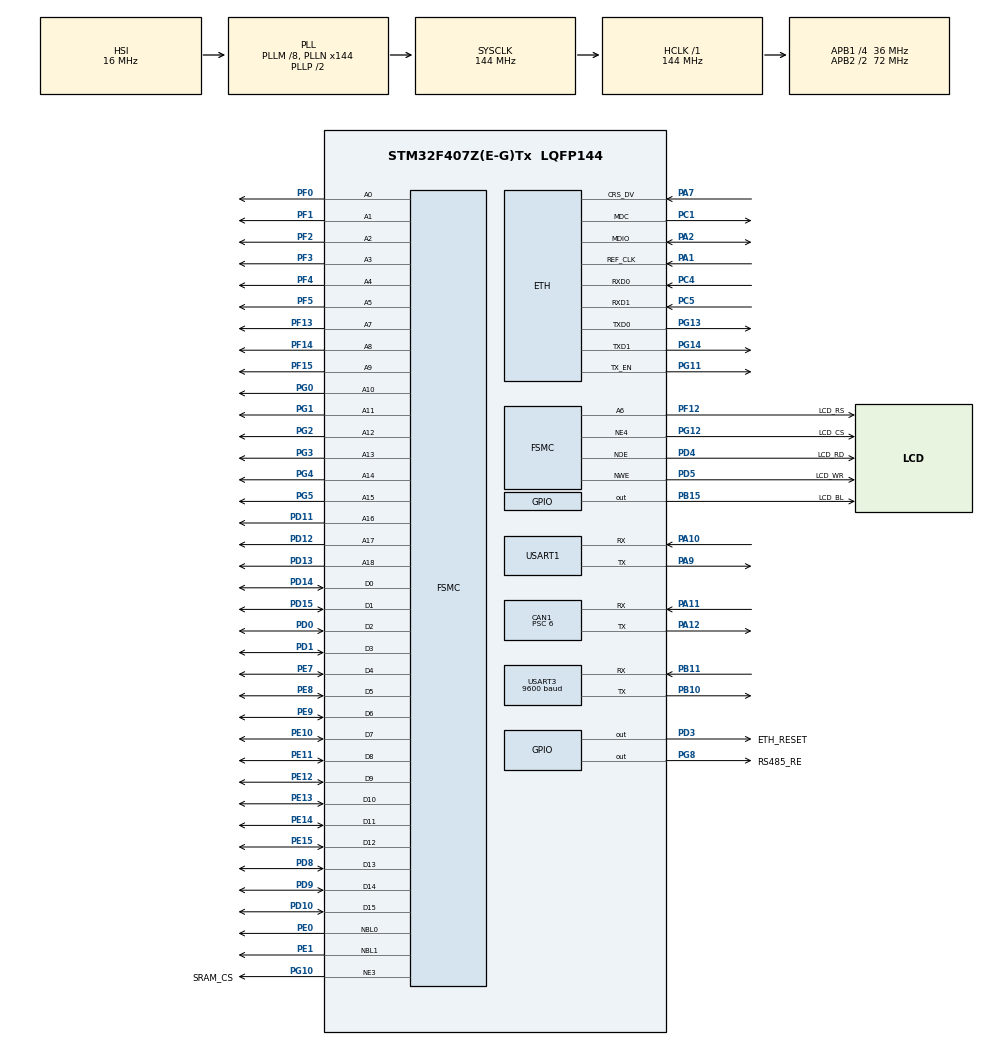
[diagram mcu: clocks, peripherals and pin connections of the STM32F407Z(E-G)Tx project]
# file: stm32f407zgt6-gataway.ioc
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CAN1.BS1=CAN_BS1_7TQ
CAN1.BS2=CAN_BS2_6TQ
CAN1.CalculateBaudRate=428571
CAN1.CalculateTimeBit=2333
CAN1.CalculateTimeQuantum=166.66666666666669
CAN1.NART=ENABLE
CAN1.Prescaler=6
ETH.MediaInterface=HAL_ETH_RMII_MODE
ETH.RxMode=ETH_RXPOLLING_MODE
FSMC.AddressSetupTime3=0
FSMC.BusTurnAroundDuration3=0
FSMC.BusTurnAroundDuration4=0
FSMC.DataSetupTime3=6
FSMC.DataSetupTime4=60
FSMC.ExtendedAddressSetupTime4=9
FSMC.ExtendedBusTurnAroundDuration4=9
FSMC.ExtendedDataSetupTime4=9
FSMC.ExtendedMode4=FSMC_EXTENDED_MODE_ENABLE
FSMC.WriteOperation3=FSMC_WRITE_OPERATION_ENABLE
LWIP.BSP.number=1
LWIP.IP_ADDRESS=192.168.063.200
LWIP.LWIP_DHCP=1
LWIP.LWIP_DNS=1
LWIP.LWIP_RAW=1
LWIP.MEMP_NUM_SYS_TIMEOUT=20
LWIP.MEMP_NUM_TCP_PCB=5
LWIP.NETMASK_ADDRESS=255.255.255.000
LWIP.Version=v2.1.2_Cube
LWIP0.BSP.STBoard=false
LWIP0.BSP.api=BSP_COMPONENT_DRIVER
LWIP0.BSP.component=LAN8742
LWIP0.BSP.instance=LAN8742
LWIP0.BSP.name=Driver_PHY
LWIP0.BSP.semaphore=S_LAN8742
LWIP0.BSP.solution=LAN8742
Mcu.Family=STM32F4
Mcu.Name=STM32F407Z(E-G)Tx
Mcu.Package=LQFP144
NVIC.CAN1_RX0_IRQn=true\:2\:0\:true\:false\:true\:true\:true\:true
NVIC.PriorityGroup=NVIC_PRIORITYGROUP_4
NVIC.TIM6_DAC_IRQn=true\:3\:0\:true\:false\:true\:true\:true\:true
PA1.Mode=RMII
PA1.Signal=ETH_REF_CLK
PA10.Mode=Asynchronous
PA10.Signal=USART1_RX
PA11.Mode=CAN_Activate
PA11.Signal=CAN1_RX
PA12.Mode=CAN_Activate
PA12.Signal=CAN1_TX
PA13.Mode=Serial_Wire
PA13.Signal=SYS_JTMS-SWDIO
PA14.Mode=Serial_Wire
PA14.Signal=SYS_JTCK-SWCLK
PA2.Mode=RMII
PA2.Signal=ETH_MDIO
PA7.Mode=RMII
PA7.Signal=ETH_CRS_DV
PA9.Mode=Asynchronous
PA9.Signal=USART1_TX
PB10.Mode=Asynchronous
PB10.Signal=USART3_TX
PB11.Mode=Asynchronous
PB11.Signal=USART3_RX
PB15.GPIO_Label=LCD_BL
PB15.Signal=GPIO_Output
PC1.Mode=RMII
PC1.Signal=ETH_MDC
PC14-OSC32_IN.Mode=LSE-External-Oscillator
PC14-OSC32_IN.Signal=RCC_OSC32_IN
PC15-OSC32_OUT.Mode=LSE-External-Oscillator
PC15-OSC32_OUT.Signal=RCC_OSC32_OUT
PC4.Mode=RMII
PC4.Signal=ETH_RXD0
PC5.Mode=RMII
PC5.Signal=ETH_RXD1
PD0.GPIO_PuPd=GPIO_PULLUP
PD0.GPIO_Speed_High_Default=GPIO_SPEED_FREQ_HIGH
PD0.Signal=FSMC_D2_DA2
PD1.GPIO_PuPd=GPIO_PULLUP
PD1.GPIO_Speed_High_Default=GPIO_SPEED_FREQ_HIGH
PD1.Signal=FSMC_D3_DA3
PD10.GPIO_PuPd=GPIO_PULLUP
PD10.GPIO_Speed_High_Default=GPIO_SPEED_FREQ_HIGH
PD10.Signal=FSMC_D15_DA15
PD11.GPIO_PuPd=GPIO_PULLUP
PD11.GPIO_Speed_High_Default=GPIO_SPEED_FREQ_HIGH
PD11.Signal=FSMC_A16_CLE
PD12.GPIO_PuPd=GPIO_PULLUP
PD12.GPIO_Speed_High_Default=GPIO_SPEED_FREQ_HIGH
PD12.Signal=FSMC_A17_ALE
PD13.GPIO_PuPd=GPIO_PULLUP
PD13.GPIO_Speed_High_Default=GPIO_SPEED_FREQ_HIGH
PD13.Signal=FSMC_A18
PD14.GPIO_PuPd=GPIO_PULLUP
PD14.GPIO_Speed_High_Default=GPIO_SPEED_FREQ_HIGH
PD14.Signal=FSMC_D0_DA0
PD15.GPIO_PuPd=GPIO_PULLUP
PD15.GPIO_Speed_High_Default=GPIO_SPEED_FREQ_HIGH
PD15.Signal=FSMC_D1_DA1
PD3.GPIO_Label=ETH_RESET
PD3.Signal=GPIO_Output
PD4.GPIO_Label=LCD_RD
PD4.GPIO_PuPd=GPIO_PULLUP
PD4.GPIO_Speed_High_Default=GPIO_SPEED_FREQ_HIGH
PD4.Signal=FSMC_NOE
PD5.GPIO_Label=LCD_WR
PD5.GPIO_PuPd=GPIO_PULLUP
PD5.GPIO_Speed_High_Default=GPIO_SPEED_FREQ_HIGH
PD5.Signal=FSMC_NWE
PD8.GPIO_PuPd=GPIO_PULLUP
PD8.GPIO_Speed_High_Default=GPIO_SPEED_FREQ_HIGH
PD8.Signal=FSMC_D13_DA13
PD9.GPIO_PuPd=GPIO_PULLUP
PD9.GPIO_Speed_High_Default=GPIO_SPEED_FREQ_HIGH
PD9.Signal=FSMC_D14_DA14
PE0.GPIO_PuPd=GPIO_PULLUP
PE0.GPIO_Speed_High_Default=GPIO_SPEED_FREQ_HIGH
PE0.Signal=FSMC_NBL0
PE1.GPIO_PuPd=GPIO_PULLUP
PE1.GPIO_Speed_High_Default=GPIO_SPEED_FREQ_HIGH
PE1.Signal=FSMC_NBL1
PE10.GPIO_PuPd=GPIO_PULLUP
PE10.GPIO_Speed_High_Default=GPIO_SPEED_FREQ_HIGH
PE10.Signal=FSMC_D7_DA7
PE11.GPIO_PuPd=GPIO_PULLUP
PE11.GPIO_Speed_High_Default=GPIO_SPEED_FREQ_HIGH
PE11.Signal=FSMC_D8_DA8
PE12.GPIO_PuPd=GPIO_PULLUP
PE12.GPIO_Speed_High_Default=GPIO_SPEED_FREQ_HIGH
PE12.Signal=FSMC_D9_DA9
PE13.GPIO_PuPd=GPIO_PULLUP
PE13.GPIO_Speed_High_Default=GPIO_SPEED_FREQ_HIGH
PE13.Signal=FSMC_D10_DA10
PE14.GPIO_PuPd=GPIO_PULLUP
PE14.GPIO_Speed_High_Default=GPIO_SPEED_FREQ_HIGH
PE14.Signal=FSMC_D11_DA11
PE15.GPIO_PuPd=GPIO_PULLUP
PE15.GPIO_Speed_High_Default=GPIO_SPEED_FREQ_HIGH
PE15.Signal=FSMC_D12_DA12
PE7.GPIO_PuPd=GPIO_PULLUP
PE7.GPIO_Speed_High_Default=GPIO_SPEED_FREQ_HIGH
PE7.Signal=FSMC_D4_DA4
PE8.GPIO_PuPd=GPIO_PULLUP
PE8.GPIO_Speed_High_Default=GPIO_SPEED_FREQ_HIGH
PE8.Signal=FSMC_D5_DA5
PE9.GPIO_PuPd=GPIO_PULLUP
PE9.GPIO_Speed_High_Default=GPIO_SPEED_FREQ_HIGH
PE9.Signal=FSMC_D6_DA6
PF0.GPIO_PuPd=GPIO_PULLUP
PF0.GPIO_Speed_High_Default=GPIO_SPEED_FREQ_HIGH
PF0.Signal=FSMC_A0
PF1.GPIO_PuPd=GPIO_PULLUP
PF1.GPIO_Speed_High_Default=GPIO_SPEED_FREQ_HIGH
PF1.Signal=FSMC_A1
PF12.GPIO_Label=LCD_RS
PF12.GPIO_PuPd=GPIO_PULLUP
PF12.GPIO_Speed_High_Default=GPIO_SPEED_FREQ_HIGH
PF12.Signal=FSMC_A6
PF13.GPIO_PuPd=GPIO_PULLUP
PF13.GPIO_Speed_High_Default=GPIO_SPEED_FREQ_HIGH
PF13.Signal=FSMC_A7
PF14.GPIO_PuPd=GPIO_PULLUP
PF14.GPIO_Speed_High_Default=GPIO_SPEED_FREQ_HIGH
PF14.Signal=FSMC_A8
PF15.GPIO_PuPd=GPIO_PULLUP
PF15.GPIO_Speed_High_Default=GPIO_SPEED_FREQ_HIGH
PF15.Signal=FSMC_A9
PF2.GPIO_PuPd=GPIO_PULLUP
PF2.GPIO_Speed_High_Default=GPIO_SPEED_FREQ_HIGH
PF2.Signal=FSMC_A2
PF3.GPIO_PuPd=GPIO_PULLUP
PF3.GPIO_Speed_High_Default=GPIO_SPEED_FREQ_HIGH
PF3.Signal=FSMC_A3
PF4.GPIO_PuPd=GPIO_PULLUP
PF4.GPIO_Speed_High_Default=GPIO_SPEED_FREQ_HIGH
PF4.Signal=FSMC_A4
PF5.GPIO_PuPd=GPIO_PULLUP
PF5.GPIO_Speed_High_Default=GPIO_SPEED_FREQ_HIGH
PF5.Signal=FSMC_A5
PG0.GPIO_PuPd=GPIO_PULLUP
PG0.GPIO_Speed_High_Default=GPIO_SPEED_FREQ_HIGH
PG0.Signal=FSMC_A10
PG1.GPIO_PuPd=GPIO_PULLUP
PG1.GPIO_Speed_High_Default=GPIO_SPEED_FREQ_HIGH
PG1.Signal=FSMC_A11
PG10.GPIO_Label=SRAM_CS
PG10.GPIO_PuPd=GPIO_PULLUP
PG10.GPIO_Speed_High_Default=GPIO_SPEED_FREQ_HIGH
PG10.Mode=NorPsramChipSelect3_3
PG10.Signal=FSMC_NE3
PG11.Mode=RMII
PG11.Signal=ETH_TX_EN
PG12.GPIO_Label=LCD_CS
PG12.GPIO_PuPd=GPIO_PULLUP
PG12.GPIO_Speed_High_Default=GPIO_SPEED_FREQ_HIGH
PG12.Mode=NorPsramChipSelect4_4
PG12.Signal=FSMC_NE4
PG13.Mode=RMII
PG13.Signal=ETH_TXD0
PG14.Mode=RMII
PG14.Signal=ETH_TXD1
PG2.GPIO_PuPd=GPIO_PULLUP
PG2.GPIO_Speed_High_Default=GPIO_SPEED_FREQ_HIGH
PG2.Signal=FSMC_A12
PG3.GPIO_PuPd=GPIO_PULLUP
PG3.GPIO_Speed_High_Default=GPIO_SPEED_FREQ_HIGH
PG3.Signal=FSMC_A13
PG4.GPIO_PuPd=GPIO_PULLUP
PG4.GPIO_Speed_High_Default=GPIO_SPEED_FREQ_HIGH
PG4.Signal=FSMC_A14
PG5.GPIO_PuPd=GPIO_PULLUP
PG5.GPIO_Speed_High_Default=GPIO_SPEED_FREQ_HIGH
PG5.Signal=FSMC_A15
PG8.GPIO_Label=RS485_RE
PG8.Signal=GPIO_Output
PH0-OSC_IN.Mode=HSE-External-Oscillator
PH0-OSC_IN.Signal=RCC_OSC_IN
PH1-OSC_OUT.Mode=HSE-External-Oscillator
PH1-OSC_OUT.Signal=RCC_OSC_OUT
ProjectManager.HeapSize=0x2000
ProjectManager.StackSize=0x400
ProjectManager.TargetToolchain=MDK-ARM V5.32
RCC.48MHZClocksFreq_Value=72000000
RCC.AHBFreq_Value=144000000
RCC.APB1CLKDivider=RCC_HCLK_DIV4
RCC.APB1Freq_Value=36000000
RCC.APB1TimFreq_Value=72000000
RCC.APB2CLKDivider=RCC_HCLK_DIV2
RCC.APB2Freq_Value=72000000
RCC.APB2TimFreq_Value=144000000
RCC.CortexFreq_Value=144000000
RCC.HCLKFreq_Value=144000000
RCC.HSE_VALUE=8000000
RCC.HSI_VALUE=16000000
RCC.PLLM=8
RCC.PLLN=144
RCC.SYSCLKFreq_VALUE=144000000
RCC.SYSCLKSource=RCC_SYSCLKSOURCE_PLLCLK
RCC.VCOOutputFreq_Value=288000000
SH.FSMC_A0.0=FSMC_A0,19b-a3
SH.FSMC_A1.0=FSMC_A1,19b-a3
SH.FSMC_A10.0=FSMC_A10,19b-a3
SH.FSMC_A11.0=FSMC_A11,19b-a3
SH.FSMC_A12.0=FSMC_A12,19b-a3
SH.FSMC_A13.0=FSMC_A13,19b-a3
SH.FSMC_A14.0=FSMC_A14,19b-a3
SH.FSMC_A15.0=FSMC_A15,19b-a3
SH.FSMC_A16_CLE.0=FSMC_A16,19b-a3
SH.FSMC_A17_ALE.0=FSMC_A17,19b-a3
SH.FSMC_A18.0=FSMC_A18,19b-a3
SH.FSMC_A2.0=FSMC_A2,19b-a3
SH.FSMC_A3.0=FSMC_A3,19b-a3
SH.FSMC_A4.0=FSMC_A4,19b-a3
SH.FSMC_A5.0=FSMC_A5,19b-a3
SH.FSMC_A6.0=FSMC_A6,A6_4
SH.FSMC_A6.1=FSMC_A6,19b-a3
SH.FSMC_A7.0=FSMC_A7,19b-a3
SH.FSMC_A8.0=FSMC_A8,19b-a3
SH.FSMC_A9.0=FSMC_A9,19b-a3
SH.FSMC_D0_DA0.0=FSMC_D0,16b-d4
SH.FSMC_D0_DA0.1=FSMC_D0,16b-d3
SH.FSMC_D10_DA10.0=FSMC_D10,16b-d4
SH.FSMC_D10_DA10.1=FSMC_D10,16b-d3
SH.FSMC_D11_DA11.0=FSMC_D11,16b-d4
SH.FSMC_D11_DA11.1=FSMC_D11,16b-d3
SH.FSMC_D12_DA12.0=FSMC_D12,16b-d4
SH.FSMC_D12_DA12.1=FSMC_D12,16b-d3
SH.FSMC_D13_DA13.0=FSMC_D13,16b-d4
SH.FSMC_D13_DA13.1=FSMC_D13,16b-d3
SH.FSMC_D14_DA14.0=FSMC_D14,16b-d4
SH.FSMC_D14_DA14.1=FSMC_D14,16b-d3
SH.FSMC_D15_DA15.0=FSMC_D15,16b-d4
SH.FSMC_D15_DA15.1=FSMC_D15,16b-d3
SH.FSMC_D1_DA1.0=FSMC_D1,16b-d4
SH.FSMC_D1_DA1.1=FSMC_D1,16b-d3
SH.FSMC_D2_DA2.0=FSMC_D2,16b-d4
SH.FSMC_D2_DA2.1=FSMC_D2,16b-d3
SH.FSMC_D3_DA3.0=FSMC_D3,16b-d4
SH.FSMC_D3_DA3.1=FSMC_D3,16b-d3
SH.FSMC_D4_DA4.0=FSMC_D4,16b-d4
SH.FSMC_D4_DA4.1=FSMC_D4,16b-d3
SH.FSMC_D5_DA5.0=FSMC_D5,16b-d4
SH.FSMC_D5_DA5.1=FSMC_D5,16b-d3
SH.FSMC_D6_DA6.0=FSMC_D6,16b-d4
SH.FSMC_D6_DA6.1=FSMC_D6,16b-d3
SH.FSMC_D7_DA7.0=FSMC_D7,16b-d4
SH.FSMC_D7_DA7.1=FSMC_D7,16b-d3
SH.FSMC_D8_DA8.0=FSMC_D8,16b-d4
SH.FSMC_D8_DA8.1=FSMC_D8,16b-d3
SH.FSMC_D9_DA9.0=FSMC_D9,16b-d4
SH.FSMC_D9_DA9.1=FSMC_D9,16b-d3
SH.FSMC_NBL0.0=FSMC_NBL0,2ByteEnable3
SH.FSMC_NBL1.0=FSMC_NBL1,2ByteEnable3
SH.FSMC_NOE.0=FSMC_NOE,Lcd4
SH.FSMC_NOE.1=FSMC_NOE,Sram3
SH.FSMC_NWE.0=FSMC_NWE,Lcd4
SH.FSMC_NWE.1=FSMC_NWE,Sram3
TIM6.AutoReloadPreload=TIM_AUTORELOAD_PRELOAD_ENABLE
TIM6.Period=49
TIM6.Prescaler=71
USART1.VirtualMode=VM_ASYNC
USART3.BaudRate=9600
USART3.VirtualMode=VM_ASYNC
VP_LWIP_VS_Enabled.Mode=Enabled
VP_TIM6_VS_ClockSourceINT.Mode=Enable_Timer
board=custom

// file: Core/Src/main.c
/* USER CODE BEGIN Header */
/**
 ******************************************************************************
 * @file           : main.c
 * @brief          : Main program body
 ******************************************************************************
 * @attention
 *
 * Copyright (c) 2026 STMicroelectronics.
 * All rights reserved.
 *
 * This software is licensed under terms that can be found in the LICENSE file
 * in the root directory of this software component.
 * If no LICENSE file comes with this software, it is provided AS-IS.
 *
 ******************************************************************************
 */
/* USER CODE END Header */
#include "main.h"
#include "can.h"
#include "lwip.h"
#include "tim.h"
#include "usart.h"
#include "gpio.h"
#include "fsmc.h"

/* USER CODE BEGIN Includes */
// GCC lib header file
#include <stdio.h>
#include <stdint.h>

// NT35510 lcd ic header file
#include "bsp_lcd.h"
#include "bsp_lcd_test.h"
#include "lcd_nt35510.h"

// BSP SRAM header file
#include "bsp_sram.h"
#include "bsp_sram_test.h"
#include "malloc.h"

// BSP TOUCH header file
#include "bsp_touch_port.h"
#include "test_bsp_touch.h"
#include "bsp_timer.h"

// emWin header file
#include "GUI.h"

#ifdef NO_APPW
#include "GUIDEMO.h"
#include "WM.h"
#endif

#ifdef USE_AC5
#include "GUIDEMO.h"
#include "WM.h"
#endif

// BSP CAN header file
#include "bsp_can_port.h"
#include "bsp_can_test.h"

// CANopen header file
#include "CO_app_STM32.h"

// app CAN init
#include "app_CAN.h"

// freemodbus header file
#ifndef USE_AC5
#include "user_mb_app.h"
#include "mbport.h"
#endif
// #include "mb_stack.h"

/* USER CODE END Includes */

/* USER CODE BEGIN PTD */
CANopenNodeSTM32 canOpenNodeSTM32;
/* USER CODE END PTD */

/* USER CODE BEGIN PD */
#define EMWIN_SRAM_DIAG_ENABLE     0
#define EMWIN_SRAM_DIAG_LOOPS      32UL
#define MODBUS_SLAVE_ID            1
#define USE_FREEMODBUS             0
/* USER CODE END PD */

void SystemClock_Config(void);
/* USER CODE BEGIN PFP */
extern uintptr_t BSP_EmWin_GetAllocPoolBase(void);
extern U32       BSP_EmWin_GetAllocPoolSize(void);

/* USER CODE END PFP */

/* USER CODE BEGIN 0 */
int fputc(int ch, FILE *f)
{
  HAL_UART_Transmit(&huart1, (uint8_t *)&ch, 1, 1000);
  return ch;
}
//#include "Generated/Resource.h"
//#include "bsp_touch_port.h"
//   extern void user_app(void);
//   user_app();
//    PID_X_Exec();

#define RS485_TASK_TIMEOUT (1000UL)
static uint32_t rs485_task_timer = 0;

#if USE_FREEMODBUS
MB_StackTypeDef mbStack = NEW_MB_StackTypeDef;
#endif

void user_app(void)
{
    // CANopen polling
    canopen_app_process(); // 1ms polling
    APP_CAN_Process();

    // LWIP polling
    MX_LWIP_Process();

    // test usart3
//    if(bsp_CheckRunTime(rs485_task_timer) >= RS485_TASK_TIMEOUT)
//    {
//        HAL_GPIO_WritePin(RS485_RE_GPIO_Port,RS485_RE_Pin,1);
//        HAL_UART_Transmit(&huart3, (uint8_t *)"Hello from USART2\r\n", 20, 1000);
//        HAL_GPIO_WritePin(RS485_RE_GPIO_Port,RS485_RE_Pin,0);
//        rs485_task_timer = bsp_GetRunTime();
//    }
    // freemodbus slave poll
    #if USE_FREEMODBUS
    eMBPoll(&mbStack);
    #endif
}

//void print_help(void)
//{
//    printf("\r\n\r\n");
//    LOG_I("Now is in bootloader.");
//    LOG_I("Click KEY2 to print help.");
//    LOG_I("Click KEY1 to switch modbus demo (master/slave/p2p_update/broadcast_update).");
//    LOG_I("Click KEY0 to run app.");
//    LOG_I("Click KEY_UP to erase app flash in p2p_update/broadcast_update mode");
//    printf("\r\n");
//    LOG_I("now modbus mode is %s", modbus_mode_str_tab[gbl_attr.modbus_mode]);
//    printf("\r\n");
//    for (int i = 0; i < MODBUS_MODE_MAX; i++) {
//        LOG_I("mode:%18s  total_cnt:%10u  success_cnt:%10u", modbus_mode_str_tab[i],
//              gbl_attr.modbus_total_cnt[i], gbl_attr.modbus_success_cnt[i]);
//    }
//    printf("\r\n\r\n");
//}

/* USER CODE END 0 */

int main(void)
{

  /* MCU Configuration--------------------------------------------------------*/

  /* Reset of all peripherals, Initializes the Flash interface and the Systick. */
  HAL_Init();

  /* Configure the system clock */
  SystemClock_Config();

  /* USER CODE BEGIN SysInit */
  SCB->SHCSR |= (SCB_SHCSR_MEMFAULTENA_Msk |
                 SCB_SHCSR_BUSFAULTENA_Msk |
                 SCB_SHCSR_USGFAULTENA_Msk);
  /* USER CODE END SysInit */

  /* Initialize all configured peripherals */
  MX_GPIO_Init();
  MX_FSMC_Init();
  MX_USART1_UART_Init();
  MX_LWIP_Init();
  MX_USART3_UART_Init();
  MX_CAN1_Init();
  MX_TIM6_Init();
  /* USER CODE BEGIN 2 */
//  HAL_TIM_Base_Start_IT(&htim6);   // 加上这句

// 测试用
//__HAL_TIM_ENABLE_IT(&htim6, TIM_IT_UPDATE);
  /*LCD Initialize*/
  NT35510_Init();
//  NT35510_RunAllTests();  // 运行NT35510测试，验证LCD接口和NT35510功能

  /* SRAM Initialize */
//  SRAM_RunAllTests();   // 运行SRAM测试，验证FSMC配置和SRAM芯片功能
//  my_mem_init(SRAMIN);                /* 初始化内部SRAM内存池 */
//  my_mem_init(SRAMEX);                /* 初始化外部SRAM内存池 */
//  my_mem_init(SRAMCCM);               /* 初始化内部CCM内存池 */

  /* soft timer Initialize */
  bsp_InitTimer();
  __HAL_RCC_CRC_CLK_ENABLE();

  /* TOUCH Initialize */
  #if EMWIN_SRAM_DIAG_ENABLE
  {
    uintptr_t emwin_pool_base = BSP_EmWin_GetAllocPoolBase();
    U32       emwin_pool_size = BSP_EmWin_GetAllocPoolSize();

    if ((emwin_pool_base >= SRAM_BASE_ADDR) &&
        ((emwin_pool_base + emwin_pool_size) <= (SRAM_BASE_ADDR + SRAM_SIZE)))
    {
      SRAM_Test_EmWinPoolStress((uint32_t)(emwin_pool_base - SRAM_BASE_ADDR),
                                (uint32_t)emwin_pool_size,
                                EMWIN_SRAM_DIAG_LOOPS);
    }
    else
    {
      printf("[SRAM] emWin pool is not inside external SRAM, diag skipped\r\n");
    }
  }
  #endif
  BSP_Touch_Init();
  //  Touch_RunAllTests();  // 运行触摸芯片测试，验证触摸屏功能和触摸控制器接口

  /* BSP CAN Initialize*/
#if USE_CANOPEN == DISABLE
  #define BSP_CAN_TXRX_TEST
  BSP_CAN_Test_RunAll();
  BSP_CAN_Init(BSP_CAN_MODE_NORMAL);
#else
  // CANopen init
  canOpenNodeSTM32.CANHandle = &hcan1;
  canOpenNodeSTM32.HWInitFunction = MX_CAN1_Init; // CAN已由CubeMX初始化
  canOpenNodeSTM32.timerHandle = NULL;            // canopen心跳定时器,当前选择由systick接管。所以不需要传入定时器示例
  canOpenNodeSTM32.desiredNodeID = 1;             // 设置当前设备节点ID
  canOpenNodeSTM32.baudrate = 500;                // 500kbps
  canopen_app_init(&canOpenNodeSTM32);
  APP_CAN_Init();
#endif
  /* freemodbus slave Initialize*/

  /* freeModbus RTU slave init */
  #if USE_FREEMODBUS
//    eMBErrorCode eStatus = eMBTCPInit(502);   /* 监听 502 端口 */
//

//
//
//    eMBErrorCode eStatus_RTU_slave = eMBInit(MB_RTU, MODBUS_SLAVE_ID, 3, 9600, MB_PAR_NONE);   // USART2, 115200
//    if(eStatus_RTU_slave != MB_ENOERR)
//    {
//      while(1)
//      {
//        printf("init modbus rtu slave failed \n");
//      }
//    }
//
//    if (eStatus == MB_ENOERR && eStatus_RTU_slave  == MB_ENOERR)
//    {
//        eMBEnable();
//    }

    // new freemodbus lib not succeed
//    mbStack.hardware.max485.phuart = &huart3;
//    mbStack.hardware.max485.dirPin = RS485_RE_Pin;
//    mbStack.hardware.max485.dirPort = RS485_RE_GPIO_Port;
//    mbStack.hardware.phtim = &htim6;
//    mbStack.hardware.uartIRQn = USART3_IRQn;
//    mbStack.hardware.timIRQn = TIM6_DAC_IRQn;
//    eMBInit(&mbStack, MB_RTU, 0x01, 3,9600, MB_PAR_NONE);
//    eMBEnable(&mbStack);
  /* freeModbus TCP layer init */
  #endif

  /* emWin Initialize*/
  #ifdef USE_AC5
  GUI_Init();
  GUIDEMO_Main();                     /* 运行emwin例程 */
  #else
    #ifndef NO_APPW
    MainTask();
    #else
    GUI_Init();
    GUIDEMO_Main();                     /* 运行emwin例程 */
    #endif
  #endif

  /* USER CODE END 2 */

  /* Infinite loop */
  while (1)
  {

    /* USER CODE BEGIN 3 */
#if USE_CANOPEN == ENABLE
    // CANopen polling
//    canopen_app_process(); // 1ms polling
//    APP_CAN_Process();
#endif

    // LWIP polling
    //    MX_LWIP_Process();

#ifdef BSP_CAN_TXRX_TEST
    // BSP can polling test
    /* 发送 */
    BSP_CAN_Msg_t tx = {.id = 0x123, .len = 8, .data = {1, 2, 3, 4, 5, 6, 7, 8}};
    BSP_CAN_Send(&tx);

    /* 接收 — 用 BufferHasData 轮询，不阻塞 */
    BSP_CAN_Msg_t rx;
    while (BSP_CAN_BufferHasData())
    {
      if (BSP_CAN_RecvFromBuffer(&rx) == BSP_CAN_OK)
      {
        printf("RX id=0x%03X len=%d data=%02X %02X %02X %02X %02X %02X %02X %02X\r\n",
               (unsigned)rx.id, rx.len,
               rx.data[0], rx.data[1], rx.data[2], rx.data[3],
               rx.data[4], rx.data[5], rx.data[6], rx.data[7]);
      }
    }
#endif

    // HAL_Delay(500);
  }
  /* USER CODE END 3 */
}

void SystemClock_Config(void)
{
  RCC_OscInitTypeDef RCC_OscInitStruct = {0};
  RCC_ClkInitTypeDef RCC_ClkInitStruct = {0};

  /** Configure the main internal regulator output voltage
  */
  __HAL_RCC_PWR_CLK_ENABLE();
  __HAL_PWR_VOLTAGESCALING_CONFIG(PWR_REGULATOR_VOLTAGE_SCALE1);

  /** Initializes the RCC Oscillators according to the specified parameters
  * in the RCC_OscInitTypeDef structure.
  */
  RCC_OscInitStruct.OscillatorType = RCC_OSCILLATORTYPE_HSI;
  RCC_OscInitStruct.HSIState = RCC_HSI_ON;
  RCC_OscInitStruct.HSICalibrationValue = RCC_HSICALIBRATION_DEFAULT;
  RCC_OscInitStruct.PLL.PLLState = RCC_PLL_ON;
  RCC_OscInitStruct.PLL.PLLSource = RCC_PLLSOURCE_HSI;
  RCC_OscInitStruct.PLL.PLLM = 8;
  RCC_OscInitStruct.PLL.PLLN = 144;
  RCC_OscInitStruct.PLL.PLLP = RCC_PLLP_DIV2;
  RCC_OscInitStruct.PLL.PLLQ = 4;
  if (HAL_RCC_OscConfig(&RCC_OscInitStruct) != HAL_OK)
  {
    Error_Handler();
  }

  /** Initializes the CPU, AHB and APB buses clocks
  */
  RCC_ClkInitStruct.ClockType = RCC_CLOCKTYPE_HCLK|RCC_CLOCKTYPE_SYSCLK
                              |RCC_CLOCKTYPE_PCLK1|RCC_CLOCKTYPE_PCLK2;
  RCC_ClkInitStruct.SYSCLKSource = RCC_SYSCLKSOURCE_PLLCLK;
  RCC_ClkInitStruct.AHBCLKDivider = RCC_SYSCLK_DIV1;
  RCC_ClkInitStruct.APB1CLKDivider = RCC_HCLK_DIV4;
  RCC_ClkInitStruct.APB2CLKDivider = RCC_HCLK_DIV2;

  if (HAL_RCC_ClockConfig(&RCC_ClkInitStruct, FLASH_LATENCY_4) != HAL_OK)
  {
    Error_Handler();
  }
}

void Error_Handler(void)
{
  __disable_irq();
  while (1)
  {
  }
}
